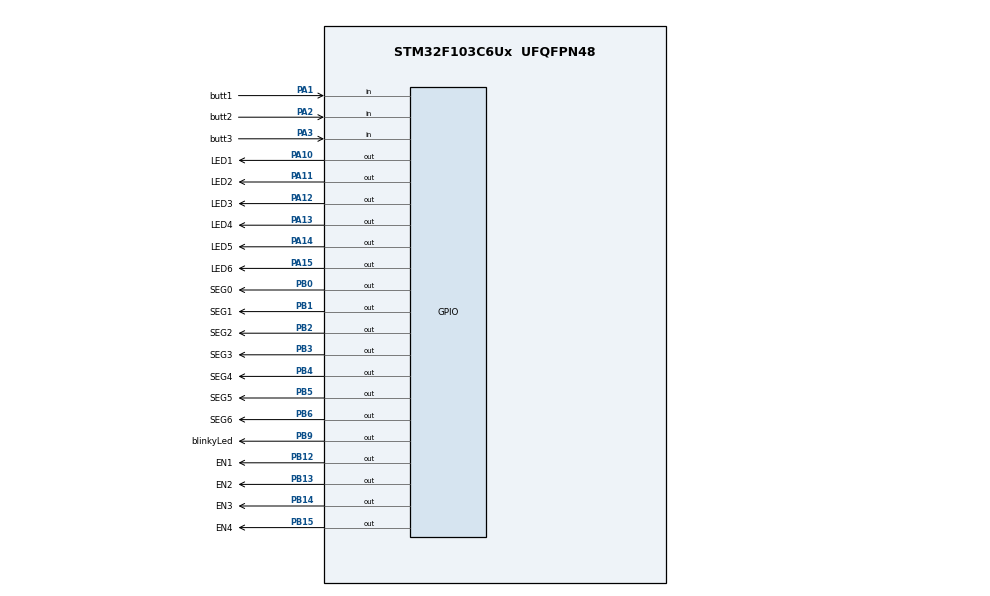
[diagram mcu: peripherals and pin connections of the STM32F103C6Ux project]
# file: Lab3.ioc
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Mcu.Family=STM32F1
Mcu.Name=STM32F103C6Ux
Mcu.Package=UFQFPN48
NVIC.PriorityGroup=NVIC_PRIORITYGROUP_4
NVIC.TIM2_IRQn=true\:0\:0\:false\:false\:true\:true\:true
PA1.GPIO_Label=butt1
PA1.GPIO_PuPd=GPIO_PULLUP
PA1.Signal=GPIO_Input
PA10.GPIO_Label=LED1
PA10.Signal=GPIO_Output
PA11.GPIO_Label=LED2
PA11.Signal=GPIO_Output
PA12.GPIO_Label=LED3
PA12.Signal=GPIO_Output
PA13.GPIO_Label=LED4
PA13.Signal=GPIO_Output
PA14.GPIO_Label=LED5
PA14.Signal=GPIO_Output
PA15.GPIO_Label=LED6
PA15.Signal=GPIO_Output
PA2.GPIO_Label=butt2
PA2.GPIO_PuPd=GPIO_PULLUP
PA2.Signal=GPIO_Input
PA3.GPIO_Label=butt3
PA3.GPIO_PuPd=GPIO_PULLUP
PA3.Signal=GPIO_Input
PB0.GPIO_Label=SEG0
PB0.Signal=GPIO_Output
PB1.GPIO_Label=SEG1
PB1.Signal=GPIO_Output
PB12.GPIO_Label=EN1
PB12.Signal=GPIO_Output
PB13.GPIO_Label=EN2
PB13.Signal=GPIO_Output
PB14.GPIO_Label=EN3
PB14.Signal=GPIO_Output
PB15.GPIO_Label=EN4
PB15.Signal=GPIO_Output
PB2.GPIO_Label=SEG2
PB2.Signal=GPIO_Output
PB3.GPIO_Label=SEG3
PB3.Signal=GPIO_Output
PB4.GPIO_Label=SEG4
PB4.Signal=GPIO_Output
PB5.GPIO_Label=SEG5
PB5.Signal=GPIO_Output
PB6.GPIO_Label=SEG6
PB6.Signal=GPIO_Output
PB9.GPIO_Label=blinkyLed
PB9.Signal=GPIO_Output
ProjectManager.HeapSize=0x200
ProjectManager.StackSize=0x400
ProjectManager.TargetToolchain=STM32CubeIDE
RCC.APB1Freq_Value=8000000
RCC.APB2Freq_Value=8000000
TIM2.Period=9
TIM2.Prescaler=7999
VP_SYS_VS_ND.Mode=No_Debug
VP_TIM2_VS_ClockSourceINT.Mode=Internal
board=custom

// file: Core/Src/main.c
/* USER CODE BEGIN Header */
/**
  ******************************************************************************
  * @file           : main.c
  * @brief          : Main program body
  ******************************************************************************
  * @attention
  *
  * <h2><center>&copy; Copyright (c) 2024 STMicroelectronics.
  * All rights reserved.</center></h2>
  *
  * This software component is licensed by ST under BSD 3-Clause license,
  * the "License"; You may not use this file except in compliance with the
  * License. You may obtain a copy of the License at:
  *                        opensource.org/licenses/BSD-3-Clause
  *
  ******************************************************************************
  */
/* USER CODE END Header */
#include "main.h"

/* USER CODE BEGIN Includes */
#include "blinkyLed.h"
#include "ledTraffic.h"
#include "button.h"
#include "fsmAutomatic.h"
#include "fsmModify.h"
/* USER CODE END Includes */

TIM_HandleTypeDef htim2;

void SystemClock_Config(void);
static void MX_TIM2_Init(void);
static void MX_GPIO_Init(void);

/* USER CODE BEGIN 0 */
int mode = 0;
void fsm(){
	switch(mode){
	  case 0:
		  automaticRun();
		  if(isButtonPressed(0)){
			  timeTemp = timeRed;
			  mode = 1;
			  setTimer(0, 500);
			  testLed();
		  }
		  break;
	  case 1:
		  modifyRed();
		  if(isButtonPressed(0)){
			  timeTemp = timeAmber;
			  mode = 2;
			  setTimer(0, 500);
			  testLed();
		  }
		  break;
	  case 2:
		  modifyAmber();
		  if(isButtonPressed(0)){
			  timeTemp = timeGreen;
			  mode = 3;
			  setTimer(0, 500);
			  testLed();
		  }
		  break;
	  case 3:
		  modifyGreen();
		  if(isButtonPressed(0)){
			  mode = 0;
			  afterModify();
			  testLed();
		  }
		  break;
	  default:
		  mode = 0;
		  afterModify();
		  break;
  }
}

/* USER CODE END 0 */

int main(void)
{

  /* MCU Configuration--------------------------------------------------------*/

  /* Reset of all peripherals, Initializes the Flash interface and the Systick. */
  HAL_Init();

  /* Configure the system clock */
  SystemClock_Config();

  /* Initialize all configured peripherals */
  MX_TIM2_Init();
  MX_GPIO_Init();
  /* USER CODE BEGIN 2 */

//  setTimer(2, 250);
  initAutomatic();
  HAL_TIM_Base_Start_IT(&htim2);
  /* USER CODE END 2 */

  /* Infinite loop */
  /* USER CODE BEGIN WHILE */
  while (1)
  {
	  fsm();
    /* USER CODE END WHILE */

  }
}

void SystemClock_Config(void)
{
  RCC_OscInitTypeDef RCC_OscInitStruct = {0};
  RCC_ClkInitTypeDef RCC_ClkInitStruct = {0};

  /** Initializes the RCC Oscillators according to the specified parameters
  * in the RCC_OscInitTypeDef structure.
  */
  RCC_OscInitStruct.OscillatorType = RCC_OSCILLATORTYPE_HSI;
  RCC_OscInitStruct.HSIState = RCC_HSI_ON;
  RCC_OscInitStruct.HSICalibrationValue = RCC_HSICALIBRATION_DEFAULT;
  RCC_OscInitStruct.PLL.PLLState = RCC_PLL_NONE;
  if (HAL_RCC_OscConfig(&RCC_OscInitStruct) != HAL_OK)
  {
    Error_Handler();
  }
  /** Initializes the CPU, AHB and APB buses clocks
  */
  RCC_ClkInitStruct.ClockType = RCC_CLOCKTYPE_HCLK|RCC_CLOCKTYPE_SYSCLK
                              |RCC_CLOCKTYPE_PCLK1|RCC_CLOCKTYPE_PCLK2;
  RCC_ClkInitStruct.SYSCLKSource = RCC_SYSCLKSOURCE_HSI;
  RCC_ClkInitStruct.AHBCLKDivider = RCC_SYSCLK_DIV1;
  RCC_ClkInitStruct.APB1CLKDivider = RCC_HCLK_DIV1;
  RCC_ClkInitStruct.APB2CLKDivider = RCC_HCLK_DIV1;

  if (HAL_RCC_ClockConfig(&RCC_ClkInitStruct, FLASH_LATENCY_0) != HAL_OK)
  {
    Error_Handler();
  }
}

static void MX_TIM2_Init(void)
{

  TIM_ClockConfigTypeDef sClockSourceConfig = {0};
  TIM_MasterConfigTypeDef sMasterConfig = {0};

  htim2.Instance = TIM2;
  htim2.Init.Prescaler = 7999;
  htim2.Init.CounterMode = TIM_COUNTERMODE_UP;
  htim2.Init.Period = 9;
  htim2.Init.ClockDivision = TIM_CLOCKDIVISION_DIV1;
  htim2.Init.AutoReloadPreload = TIM_AUTORELOAD_PRELOAD_DISABLE;
  if (HAL_TIM_Base_Init(&htim2) != HAL_OK)
  {
    Error_Handler();
  }
  sClockSourceConfig.ClockSource = TIM_CLOCKSOURCE_INTERNAL;
  if (HAL_TIM_ConfigClockSource(&htim2, &sClockSourceConfig) != HAL_OK)
  {
    Error_Handler();
  }
  sMasterConfig.MasterOutputTrigger = TIM_TRGO_RESET;
  sMasterConfig.MasterSlaveMode = TIM_MASTERSLAVEMODE_DISABLE;
  if (HAL_TIMEx_MasterConfigSynchronization(&htim2, &sMasterConfig) != HAL_OK)
  {
    Error_Handler();
  }

}

static void MX_GPIO_Init(void)
{
  GPIO_InitTypeDef GPIO_InitStruct = {0};

  /* GPIO Ports Clock Enable */
  __HAL_RCC_GPIOA_CLK_ENABLE();
  __HAL_RCC_GPIOB_CLK_ENABLE();

  /*Configure GPIO pin Output Level */
  HAL_GPIO_WritePin(GPIOB, SEG0_Pin|SEG1_Pin|SEG2_Pin|EN1_Pin
                          |EN2_Pin|EN3_Pin|EN4_Pin|SEG3_Pin
                          |SEG4_Pin|SEG5_Pin|SEG6_Pin|blinkyLed_Pin, GPIO_PIN_RESET);

  /*Configure GPIO pin Output Level */
  HAL_GPIO_WritePin(GPIOA, LED1_Pin|LED2_Pin|LED3_Pin|LED4_Pin
                          |LED5_Pin|LED6_Pin, GPIO_PIN_RESET);

  /*Configure GPIO pins : butt1_Pin butt2_Pin butt3_Pin */
  GPIO_InitStruct.Pin = butt1_Pin|butt2_Pin|butt3_Pin;
  GPIO_InitStruct.Mode = GPIO_MODE_INPUT;
  GPIO_InitStruct.Pull = GPIO_PULLUP;
  HAL_GPIO_Init(GPIOA, &GPIO_InitStruct);

  /*Configure GPIO pins : SEG0_Pin SEG1_Pin SEG2_Pin EN1_Pin
                           EN2_Pin EN3_Pin EN4_Pin SEG3_Pin
                           SEG4_Pin SEG5_Pin SEG6_Pin blinkyLed_Pin */
  GPIO_InitStruct.Pin = SEG0_Pin|SEG1_Pin|SEG2_Pin|EN1_Pin
                          |EN2_Pin|EN3_Pin|EN4_Pin|SEG3_Pin
                          |SEG4_Pin|SEG5_Pin|SEG6_Pin|blinkyLed_Pin;
  GPIO_InitStruct.Mode = GPIO_MODE_OUTPUT_PP;
  GPIO_InitStruct.Pull = GPIO_NOPULL;
  GPIO_InitStruct.Speed = GPIO_SPEED_FREQ_LOW;
  HAL_GPIO_Init(GPIOB, &GPIO_InitStruct);

  /*Configure GPIO pins : LED1_Pin LED2_Pin LED3_Pin LED4_Pin
                           LED5_Pin LED6_Pin */
  GPIO_InitStruct.Pin = LED1_Pin|LED2_Pin|LED3_Pin|LED4_Pin
                          |LED5_Pin|LED6_Pin;
  GPIO_InitStruct.Mode = GPIO_MODE_OUTPUT_PP;
  GPIO_InitStruct.Pull = GPIO_NOPULL;
  GPIO_InitStruct.Speed = GPIO_SPEED_FREQ_LOW;
  HAL_GPIO_Init(GPIOA, &GPIO_InitStruct);

}

/* USER CODE BEGIN 4 */
void HAL_TIM_PeriodElapsedCallback(TIM_HandleTypeDef *htim){
	timerRun();
	if(htim->Instance == TIM2){
		buttonReading();
	}
}
/* USER CODE END 4 */

void Error_Handler(void)
{
  __disable_irq();
  while (1)
  {
  }
}

/************************ (C) COPYRIGHT STMicroelectronics *****END OF FILE****/
